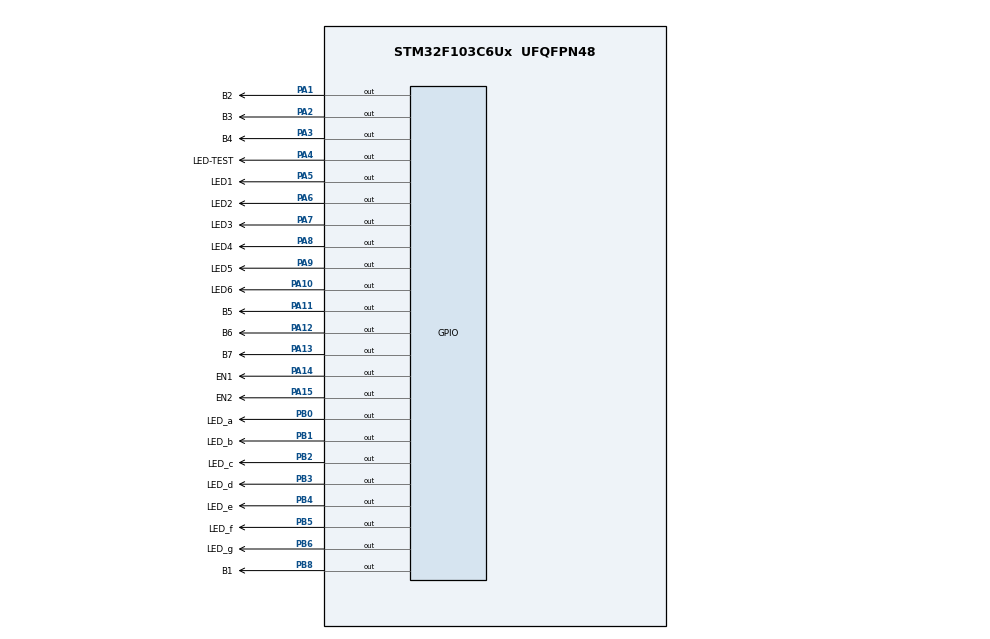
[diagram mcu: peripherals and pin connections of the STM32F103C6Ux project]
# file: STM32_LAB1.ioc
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Mcu.Family=STM32F1
Mcu.Name=STM32F103C6Ux
Mcu.Package=UFQFPN48
NVIC.PriorityGroup=NVIC_PRIORITYGROUP_4
PA1.GPIO_Label=B2
PA1.Signal=GPIO_Output
PA10.GPIO_Label=LED6
PA10.Signal=GPIO_Output
PA11.GPIO_Label=B5
PA11.Signal=GPIO_Output
PA12.GPIO_Label=B6
PA12.Signal=GPIO_Output
PA13.GPIO_Label=B7
PA13.Signal=GPIO_Output
PA14.GPIO_Label=EN1
PA14.Signal=GPIO_Output
PA15.GPIO_Label=EN2
PA15.Signal=GPIO_Output
PA2.GPIO_Label=B3
PA2.Signal=GPIO_Output
PA3.GPIO_Label=B4
PA3.Signal=GPIO_Output
PA4.GPIO_Label=LED-TEST
PA4.Signal=GPIO_Output
PA5.GPIO_Label=LED1
PA5.Signal=GPIO_Output
PA6.GPIO_Label=LED2
PA6.Signal=GPIO_Output
PA7.GPIO_Label=LED3
PA7.Signal=GPIO_Output
PA8.GPIO_Label=LED4
PA8.Signal=GPIO_Output
PA9.GPIO_Label=LED5
PA9.Signal=GPIO_Output
PB0.GPIO_Label=LED_a
PB0.Signal=GPIO_Output
PB1.GPIO_Label=LED_b
PB1.Signal=GPIO_Output
PB2.GPIO_Label=LED_c
PB2.Signal=GPIO_Output
PB3.GPIO_Label=LED_d
PB3.Signal=GPIO_Output
PB4.GPIO_Label=LED_e
PB4.Signal=GPIO_Output
PB5.GPIO_Label=LED_f
PB5.Signal=GPIO_Output
PB6.GPIO_Label=LED_g
PB6.Signal=GPIO_Output
PB8.GPIO_Label=B1
PB8.Signal=GPIO_Output
ProjectManager.HeapSize=0x200
ProjectManager.StackSize=0x400
ProjectManager.TargetToolchain=STM32CubeIDE
RCC.APB1Freq_Value=8000000
RCC.APB2Freq_Value=8000000
VP_SYS_VS_ND.Mode=No_Debug
board=custom

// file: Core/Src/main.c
/* USER CODE BEGIN Header */
/**
  ******************************************************************************
  * @file           : main.c
  * @brief          : Main program body
  ******************************************************************************
  * @attention
  *
  * <h2><center>&copy; Copyright (c) 2025 STMicroelectronics.
  * All rights reserved.</center></h2>
  *
  * This software component is licensed by ST under BSD 3-Clause license,
  * the "License"; You may not use this file except in compliance with the
  * License. You may obtain a copy of the License at:
  *                        opensource.org/licenses/BSD-3-Clause
  *
  ******************************************************************************
  */
/* USER CODE END Header */
#include "main.h"

/* USER CODE BEGIN PD */
#define RED   10
#define YEL   11
#define GREEN 12

#define RED_TIME   5
#define YEL_TIME   2
#define GREEN_TIME 3

/* USER CODE END PD */

void SystemClock_Config(void);
static void MX_GPIO_Init(void);

int main(void)
{
  /* USER CODE BEGIN 1 */

	void display7SEG (int num) {
		switch (num) {
		case 0:
			HAL_GPIO_WritePin(LED_a_GPIO_Port, LED_a_Pin, GPIO_PIN_RESET);
			HAL_GPIO_WritePin(LED_b_GPIO_Port, LED_b_Pin, GPIO_PIN_RESET);
			HAL_GPIO_WritePin(LED_c_GPIO_Port, LED_c_Pin, GPIO_PIN_RESET);
			HAL_GPIO_WritePin(LED_d_GPIO_Port, LED_d_Pin, GPIO_PIN_RESET);
			HAL_GPIO_WritePin(LED_e_GPIO_Port, LED_e_Pin, GPIO_PIN_RESET);
			HAL_GPIO_WritePin(LED_f_GPIO_Port, LED_f_Pin, GPIO_PIN_RESET);
			HAL_GPIO_WritePin(LED_g_GPIO_Port, LED_g_Pin, GPIO_PIN_SET);
			break;
		case 1:
			HAL_GPIO_WritePin(LED_a_GPIO_Port, LED_a_Pin, GPIO_PIN_SET);
			HAL_GPIO_WritePin(LED_b_GPIO_Port, LED_b_Pin, GPIO_PIN_RESET);
			HAL_GPIO_WritePin(LED_c_GPIO_Port, LED_c_Pin, GPIO_PIN_RESET);
			HAL_GPIO_WritePin(LED_d_GPIO_Port, LED_d_Pin, GPIO_PIN_SET);
			HAL_GPIO_WritePin(LED_e_GPIO_Port, LED_e_Pin, GPIO_PIN_SET);
			HAL_GPIO_WritePin(LED_f_GPIO_Port, LED_f_Pin, GPIO_PIN_SET);
			HAL_GPIO_WritePin(LED_g_GPIO_Port, LED_g_Pin, GPIO_PIN_SET);
			break;
		case 2:
			HAL_GPIO_WritePin(LED_a_GPIO_Port, LED_a_Pin, GPIO_PIN_RESET);
			HAL_GPIO_WritePin(LED_b_GPIO_Port, LED_b_Pin, GPIO_PIN_RESET);
			HAL_GPIO_WritePin(LED_c_GPIO_Port, LED_c_Pin, GPIO_PIN_SET);
			HAL_GPIO_WritePin(LED_d_GPIO_Port, LED_d_Pin, GPIO_PIN_RESET);
			HAL_GPIO_WritePin(LED_e_GPIO_Port, LED_e_Pin, GPIO_PIN_RESET);
			HAL_GPIO_WritePin(LED_f_GPIO_Port, LED_f_Pin, GPIO_PIN_SET);
			HAL_GPIO_WritePin(LED_g_GPIO_Port, LED_g_Pin, GPIO_PIN_RESET);
			break;
		case 3:
			HAL_GPIO_WritePin(LED_a_GPIO_Port, LED_a_Pin, GPIO_PIN_RESET);
			HAL_GPIO_WritePin(LED_b_GPIO_Port, LED_b_Pin, GPIO_PIN_RESET);
			HAL_GPIO_WritePin(LED_c_GPIO_Port, LED_c_Pin, GPIO_PIN_RESET);
			HAL_GPIO_WritePin(LED_d_GPIO_Port, LED_d_Pin, GPIO_PIN_RESET);
			HAL_GPIO_WritePin(LED_e_GPIO_Port, LED_e_Pin, GPIO_PIN_SET);
			HAL_GPIO_WritePin(LED_f_GPIO_Port, LED_f_Pin, GPIO_PIN_SET);
			HAL_GPIO_WritePin(LED_g_GPIO_Port, LED_g_Pin, GPIO_PIN_RESET);
			break;
		case 4:
			HAL_GPIO_WritePin(LED_a_GPIO_Port, LED_a_Pin, GPIO_PIN_SET);
			HAL_GPIO_WritePin(LED_b_GPIO_Port, LED_b_Pin, GPIO_PIN_RESET);
			HAL_GPIO_WritePin(LED_c_GPIO_Port, LED_c_Pin, GPIO_PIN_RESET);
			HAL_GPIO_WritePin(LED_d_GPIO_Port, LED_d_Pin, GPIO_PIN_SET);
			HAL_GPIO_WritePin(LED_e_GPIO_Port, LED_e_Pin, GPIO_PIN_SET);
			HAL_GPIO_WritePin(LED_f_GPIO_Port, LED_f_Pin, GPIO_PIN_RESET);
			HAL_GPIO_WritePin(LED_g_GPIO_Port, LED_g_Pin, GPIO_PIN_RESET);
			break;
		case 5:
			HAL_GPIO_WritePin(LED_a_GPIO_Port, LED_a_Pin, GPIO_PIN_RESET);
			HAL_GPIO_WritePin(LED_b_GPIO_Port, LED_b_Pin, GPIO_PIN_SET);
			HAL_GPIO_WritePin(LED_c_GPIO_Port, LED_c_Pin, GPIO_PIN_RESET);
			HAL_GPIO_WritePin(LED_d_GPIO_Port, LED_d_Pin, GPIO_PIN_RESET);
			HAL_GPIO_WritePin(LED_e_GPIO_Port, LED_e_Pin, GPIO_PIN_SET);
			HAL_GPIO_WritePin(LED_f_GPIO_Port, LED_f_Pin, GPIO_PIN_RESET);
			HAL_GPIO_WritePin(LED_g_GPIO_Port, LED_g_Pin, GPIO_PIN_RESET);
			break;
		case 6:
			HAL_GPIO_WritePin(LED_a_GPIO_Port, LED_a_Pin, GPIO_PIN_RESET);
			HAL_GPIO_WritePin(LED_b_GPIO_Port, LED_b_Pin, GPIO_PIN_SET);
			HAL_GPIO_WritePin(LED_c_GPIO_Port, LED_c_Pin, GPIO_PIN_RESET);
			HAL_GPIO_WritePin(LED_d_GPIO_Port, LED_d_Pin, GPIO_PIN_RESET);
			HAL_GPIO_WritePin(LED_e_GPIO_Port, LED_e_Pin, GPIO_PIN_RESET);
			HAL_GPIO_WritePin(LED_f_GPIO_Port, LED_f_Pin, GPIO_PIN_RESET);
			HAL_GPIO_WritePin(LED_g_GPIO_Port, LED_g_Pin, GPIO_PIN_RESET);
			break;
		case 7:
			HAL_GPIO_WritePin(LED_a_GPIO_Port, LED_a_Pin, GPIO_PIN_RESET);
			HAL_GPIO_WritePin(LED_b_GPIO_Port, LED_b_Pin, GPIO_PIN_RESET);
			HAL_GPIO_WritePin(LED_c_GPIO_Port, LED_c_Pin, GPIO_PIN_RESET);
			HAL_GPIO_WritePin(LED_d_GPIO_Port, LED_d_Pin, GPIO_PIN_SET);
			HAL_GPIO_WritePin(LED_e_GPIO_Port, LED_e_Pin, GPIO_PIN_SET);
			HAL_GPIO_WritePin(LED_f_GPIO_Port, LED_f_Pin, GPIO_PIN_SET);
			HAL_GPIO_WritePin(LED_g_GPIO_Port, LED_g_Pin, GPIO_PIN_SET);
			break;
		case 8:
			HAL_GPIO_WritePin(LED_a_GPIO_Port, LED_a_Pin, GPIO_PIN_RESET);
			HAL_GPIO_WritePin(LED_b_GPIO_Port, LED_b_Pin, GPIO_PIN_RESET);
			HAL_GPIO_WritePin(LED_c_GPIO_Port, LED_c_Pin, GPIO_PIN_RESET);
			HAL_GPIO_WritePin(LED_d_GPIO_Port, LED_d_Pin, GPIO_PIN_RESET);
			HAL_GPIO_WritePin(LED_e_GPIO_Port, LED_e_Pin, GPIO_PIN_RESET);
			HAL_GPIO_WritePin(LED_f_GPIO_Port, LED_f_Pin, GPIO_PIN_RESET);
			HAL_GPIO_WritePin(LED_g_GPIO_Port, LED_g_Pin, GPIO_PIN_RESET);
			break;
		case 9:
			HAL_GPIO_WritePin(LED_a_GPIO_Port, LED_a_Pin, GPIO_PIN_RESET);
			HAL_GPIO_WritePin(LED_b_GPIO_Port, LED_b_Pin, GPIO_PIN_RESET);
			HAL_GPIO_WritePin(LED_c_GPIO_Port, LED_c_Pin, GPIO_PIN_RESET);
			HAL_GPIO_WritePin(LED_d_GPIO_Port, LED_d_Pin, GPIO_PIN_RESET);
			HAL_GPIO_WritePin(LED_e_GPIO_Port, LED_e_Pin, GPIO_PIN_SET);
			HAL_GPIO_WritePin(LED_f_GPIO_Port, LED_f_Pin, GPIO_PIN_RESET);
			HAL_GPIO_WritePin(LED_g_GPIO_Port, LED_g_Pin, GPIO_PIN_RESET);
			break;
		default:
			break;
		}
	}
	void display7SEG_sub (int num) {
	    switch (num) {
	    case 0:
	        HAL_GPIO_WritePin(B1_GPIO_Port, B1_Pin, GPIO_PIN_RESET);
	        HAL_GPIO_WritePin(B2_GPIO_Port, B2_Pin, GPIO_PIN_RESET);
	        HAL_GPIO_WritePin(B3_GPIO_Port, B3_Pin, GPIO_PIN_RESET);
	        HAL_GPIO_WritePin(B4_GPIO_Port, B4_Pin, GPIO_PIN_RESET);
	        HAL_GPIO_WritePin(B5_GPIO_Port, B5_Pin, GPIO_PIN_RESET);
	        HAL_GPIO_WritePin(B6_GPIO_Port, B6_Pin, GPIO_PIN_RESET);
	        HAL_GPIO_WritePin(B7_GPIO_Port, B7_Pin, GPIO_PIN_SET);
	        break;

	    case 1:
	        HAL_GPIO_WritePin(B1_GPIO_Port, B1_Pin, GPIO_PIN_SET);
	        HAL_GPIO_WritePin(B2_GPIO_Port, B2_Pin, GPIO_PIN_RESET);
	        HAL_GPIO_WritePin(B3_GPIO_Port, B3_Pin, GPIO_PIN_RESET);
	        HAL_GPIO_WritePin(B4_GPIO_Port, B4_Pin, GPIO_PIN_SET);
	        HAL_GPIO_WritePin(B5_GPIO_Port, B5_Pin, GPIO_PIN_SET);
	        HAL_GPIO_WritePin(B6_GPIO_Port, B6_Pin, GPIO_PIN_SET);
	        HAL_GPIO_WritePin(B7_GPIO_Port, B7_Pin, GPIO_PIN_SET);
	        break;

	    case 2:
	        HAL_GPIO_WritePin(B1_GPIO_Port, B1_Pin, GPIO_PIN_RESET);
	        HAL_GPIO_WritePin(B2_GPIO_Port, B2_Pin, GPIO_PIN_RESET);
	        HAL_GPIO_WritePin(B3_GPIO_Port, B3_Pin, GPIO_PIN_SET);
	        HAL_GPIO_WritePin(B4_GPIO_Port, B4_Pin, GPIO_PIN_RESET);
	        HAL_GPIO_WritePin(B5_GPIO_Port, B5_Pin, GPIO_PIN_RESET);
	        HAL_GPIO_WritePin(B6_GPIO_Port, B6_Pin, GPIO_PIN_SET);
	        HAL_GPIO_WritePin(B7_GPIO_Port, B7_Pin, GPIO_PIN_RESET);
	        break;

	    case 3:
	        HAL_GPIO_WritePin(B1_GPIO_Port, B1_Pin, GPIO_PIN_RESET);
	        HAL_GPIO_WritePin(B2_GPIO_Port, B2_Pin, GPIO_PIN_RESET);
	        HAL_GPIO_WritePin(B3_GPIO_Port, B3_Pin, GPIO_PIN_RESET);
	        HAL_GPIO_WritePin(B4_GPIO_Port, B4_Pin, GPIO_PIN_RESET);
	        HAL_GPIO_WritePin(B5_GPIO_Port, B5_Pin, GPIO_PIN_SET);
	        HAL_GPIO_WritePin(B6_GPIO_Port, B6_Pin, GPIO_PIN_SET);
	        HAL_GPIO_WritePin(B7_GPIO_Port, B7_Pin, GPIO_PIN_RESET);
	        break;

	    case 4:
	        HAL_GPIO_WritePin(B1_GPIO_Port, B1_Pin, GPIO_PIN_SET);
	        HAL_GPIO_WritePin(B2_GPIO_Port, B2_Pin, GPIO_PIN_RESET);
	        HAL_GPIO_WritePin(B3_GPIO_Port, B3_Pin, GPIO_PIN_RESET);
	        HAL_GPIO_WritePin(B4_GPIO_Port, B4_Pin, GPIO_PIN_SET);
	        HAL_GPIO_WritePin(B5_GPIO_Port, B5_Pin, GPIO_PIN_SET);
	        HAL_GPIO_WritePin(B6_GPIO_Port, B6_Pin, GPIO_PIN_RESET);
	        HAL_GPIO_WritePin(B7_GPIO_Port, B7_Pin, GPIO_PIN_RESET);
	        break;

	    case 5:
	        HAL_GPIO_WritePin(B1_GPIO_Port, B1_Pin, GPIO_PIN_RESET);
	        HAL_GPIO_WritePin(B2_GPIO_Port, B2_Pin, GPIO_PIN_SET);
	        HAL_GPIO_WritePin(B3_GPIO_Port, B3_Pin, GPIO_PIN_RESET);
	        HAL_GPIO_WritePin(B4_GPIO_Port, B4_Pin, GPIO_PIN_RESET);
	        HAL_GPIO_WritePin(B5_GPIO_Port, B5_Pin, GPIO_PIN_SET);
	        HAL_GPIO_WritePin(B6_GPIO_Port, B6_Pin, GPIO_PIN_RESET);
	        HAL_GPIO_WritePin(B7_GPIO_Port, B7_Pin, GPIO_PIN_RESET);
	        break;

	    case 6:
	        HAL_GPIO_WritePin(B1_GPIO_Port, B1_Pin, GPIO_PIN_RESET);
	        HAL_GPIO_WritePin(B2_GPIO_Port, B2_Pin, GPIO_PIN_SET);
	        HAL_GPIO_WritePin(B3_GPIO_Port, B3_Pin, GPIO_PIN_RESET);
	        HAL_GPIO_WritePin(B4_GPIO_Port, B4_Pin, GPIO_PIN_RESET);
	        HAL_GPIO_WritePin(B5_GPIO_Port, B5_Pin, GPIO_PIN_RESET);
	        HAL_GPIO_WritePin(B6_GPIO_Port, B6_Pin, GPIO_PIN_RESET);
	        HAL_GPIO_WritePin(B7_GPIO_Port, B7_Pin, GPIO_PIN_RESET);
	        break;

	    case 7:
	        HAL_GPIO_WritePin(B1_GPIO_Port, B1_Pin, GPIO_PIN_RESET);
	        HAL_GPIO_WritePin(B2_GPIO_Port, B2_Pin, GPIO_PIN_RESET);
	        HAL_GPIO_WritePin(B3_GPIO_Port, B3_Pin, GPIO_PIN_RESET);
	        HAL_GPIO_WritePin(B4_GPIO_Port, B4_Pin, GPIO_PIN_SET);
	        HAL_GPIO_WritePin(B5_GPIO_Port, B5_Pin, GPIO_PIN_SET);
	        HAL_GPIO_WritePin(B6_GPIO_Port, B6_Pin, GPIO_PIN_SET);
	        HAL_GPIO_WritePin(B7_GPIO_Port, B7_Pin, GPIO_PIN_SET);
	        break;

	    case 8:
	        HAL_GPIO_WritePin(B1_GPIO_Port, B1_Pin, GPIO_PIN_RESET);
	        HAL_GPIO_WritePin(B2_GPIO_Port, B2_Pin, GPIO_PIN_RESET);
	        HAL_GPIO_WritePin(B3_GPIO_Port, B3_Pin, GPIO_PIN_RESET);
	        HAL_GPIO_WritePin(B4_GPIO_Port, B4_Pin, GPIO_PIN_RESET);
	        HAL_GPIO_WritePin(B5_GPIO_Port, B5_Pin, GPIO_PIN_RESET);
	        HAL_GPIO_WritePin(B6_GPIO_Port, B6_Pin, GPIO_PIN_RESET);
	        HAL_GPIO_WritePin(B7_GPIO_Port, B7_Pin, GPIO_PIN_RESET);
	        break;

	    case 9:
	        HAL_GPIO_WritePin(B1_GPIO_Port, B1_Pin, GPIO_PIN_RESET);
	        HAL_GPIO_WritePin(B2_GPIO_Port, B2_Pin, GPIO_PIN_RESET);
	        HAL_GPIO_WritePin(B3_GPIO_Port, B3_Pin, GPIO_PIN_RESET);
	        HAL_GPIO_WritePin(B4_GPIO_Port, B4_Pin, GPIO_PIN_RESET);
	        HAL_GPIO_WritePin(B5_GPIO_Port, B5_Pin, GPIO_PIN_SET);
	        HAL_GPIO_WritePin(B6_GPIO_Port, B6_Pin, GPIO_PIN_RESET);
	        HAL_GPIO_WritePin(B7_GPIO_Port, B7_Pin, GPIO_PIN_RESET);
	        break;

	    default:
	        break;
	    }
	}

//	void showTime(int led_idx, int time) {
//		display7SEG(time);
//		switch(led_idx){
//		case 0:
//			HAL_GPIO_WritePin(EN1_GPIO_Port,EN1_Pin,RESET);
//			HAL_GPIO_WritePin(EN2_GPIO_Port,EN2_Pin,SET);
//		case 1:
//			HAL_GPIO_WritePin(EN1_GPIO_Port,EN1_Pin,SET);
//			HAL_GPIO_WritePin(EN2_GPIO_Port,EN2_Pin,RESET);
//		}
//	}

  /* USER CODE END 1 */

  /* MCU Configuration--------------------------------------------------------*/

  /* Reset of all peripherals, Initializes the Flash interface and the Systick. */
  HAL_Init();

  /* Configure the system clock */
  SystemClock_Config();

  /* Initialize all configured peripherals */
  MX_GPIO_Init();

  /* Infinite loop */
  /* USER CODE BEGIN WHILE */
  int state_main = RED;
  int state_sub  = GREEN;
  int cnt_main = RED_TIME;
  int cnt_sub  = GREEN_TIME;
  while (1)
  {
	  // ======== Logic đèn giao thông mỗi 1s ========
		// MAIN
		switch(state_main){
		case RED:
			HAL_GPIO_WritePin(LED1_GPIO_Port,LED1_Pin, RESET);
			HAL_GPIO_WritePin(LED2_GPIO_Port,LED2_Pin, SET);
			HAL_GPIO_WritePin(LED3_GPIO_Port,LED3_Pin, SET);
			if(cnt_main < 0){ cnt_main = GREEN_TIME; state_main = GREEN; }
			break;

		case YEL:
			HAL_GPIO_WritePin(LED1_GPIO_Port,LED1_Pin, SET);
			HAL_GPIO_WritePin(LED2_GPIO_Port,LED2_Pin, RESET);
			HAL_GPIO_WritePin(LED3_GPIO_Port,LED3_Pin, SET);
			if(cnt_main < 0){ cnt_main = RED_TIME; state_main = RED; }
			break;

		case GREEN:
			HAL_GPIO_WritePin(LED1_GPIO_Port,LED1_Pin, SET);
			HAL_GPIO_WritePin(LED2_GPIO_Port,LED2_Pin, SET);
			HAL_GPIO_WritePin(LED3_GPIO_Port,LED3_Pin, RESET);
			if(cnt_main < 0){ cnt_main = YEL_TIME; state_main = YEL; }
			break;
		}

		// SUB
		switch(state_sub){
		case RED:
			HAL_GPIO_WritePin(LED4_GPIO_Port,LED4_Pin, RESET);
			HAL_GPIO_WritePin(LED5_GPIO_Port,LED5_Pin, SET);
			HAL_GPIO_WritePin(LED6_GPIO_Port,LED6_Pin, SET);
			if(cnt_sub < 1){ cnt_sub = GREEN_TIME; state_sub = GREEN; }
			break;

		case YEL:
			HAL_GPIO_WritePin(LED4_GPIO_Port,LED4_Pin, SET);
			HAL_GPIO_WritePin(LED5_GPIO_Port,LED5_Pin, RESET);
			HAL_GPIO_WritePin(LED6_GPIO_Port,LED6_Pin, SET);
			if(cnt_sub < 1){ cnt_sub = RED_TIME; state_sub = RED; }
			break;

		case GREEN:
			HAL_GPIO_WritePin(LED4_GPIO_Port,LED4_Pin, SET);
			HAL_GPIO_WritePin(LED5_GPIO_Port,LED5_Pin, SET);
			HAL_GPIO_WritePin(LED6_GPIO_Port,LED6_Pin, RESET);
			if(cnt_sub < 1){ cnt_sub = YEL_TIME; state_sub = YEL; }
			break;
		}

		display7SEG(cnt_main);
		HAL_GPIO_WritePin(EN1_GPIO_Port, EN1_Pin, RESET);

		display7SEG_sub(cnt_sub);
		HAL_GPIO_WritePin(EN2_GPIO_Port, EN2_Pin, RESET);

		HAL_GPIO_TogglePin(LED_TEST_GPIO_Port,LED_TEST_Pin);
		HAL_Delay(1000);
		cnt_main--;
		cnt_sub--;

    /* USER CODE END WHILE */

  }
}

void SystemClock_Config(void)
{
  RCC_OscInitTypeDef RCC_OscInitStruct = {0};
  RCC_ClkInitTypeDef RCC_ClkInitStruct = {0};

  /** Initializes the RCC Oscillators according to the specified parameters
  * in the RCC_OscInitTypeDef structure.
  */
  RCC_OscInitStruct.OscillatorType = RCC_OSCILLATORTYPE_HSI;
  RCC_OscInitStruct.HSIState = RCC_HSI_ON;
  RCC_OscInitStruct.HSICalibrationValue = RCC_HSICALIBRATION_DEFAULT;
  RCC_OscInitStruct.PLL.PLLState = RCC_PLL_NONE;
  if (HAL_RCC_OscConfig(&RCC_OscInitStruct) != HAL_OK)
  {
    Error_Handler();
  }
  /** Initializes the CPU, AHB and APB buses clocks
  */
  RCC_ClkInitStruct.ClockType = RCC_CLOCKTYPE_HCLK|RCC_CLOCKTYPE_SYSCLK
                              |RCC_CLOCKTYPE_PCLK1|RCC_CLOCKTYPE_PCLK2;
  RCC_ClkInitStruct.SYSCLKSource = RCC_SYSCLKSOURCE_HSI;
  RCC_ClkInitStruct.AHBCLKDivider = RCC_SYSCLK_DIV1;
  RCC_ClkInitStruct.APB1CLKDivider = RCC_HCLK_DIV1;
  RCC_ClkInitStruct.APB2CLKDivider = RCC_HCLK_DIV1;

  if (HAL_RCC_ClockConfig(&RCC_ClkInitStruct, FLASH_LATENCY_0) != HAL_OK)
  {
    Error_Handler();
  }
}

static void MX_GPIO_Init(void)
{
  GPIO_InitTypeDef GPIO_InitStruct = {0};

  /* GPIO Ports Clock Enable */
  __HAL_RCC_GPIOA_CLK_ENABLE();
  __HAL_RCC_GPIOB_CLK_ENABLE();

  /*Configure GPIO pin Output Level */
  HAL_GPIO_WritePin(GPIOA, B2_Pin|B3_Pin|B4_Pin|LED_TEST_Pin
                          |LED1_Pin|LED2_Pin|LED3_Pin|LED4_Pin
                          |LED5_Pin|LED6_Pin|B5_Pin|B6_Pin
                          |B7_Pin|EN1_Pin|EN2_Pin, GPIO_PIN_RESET);

  /*Configure GPIO pin Output Level */
  HAL_GPIO_WritePin(GPIOB, LED_a_Pin|LED_b_Pin|LED_c_Pin|LED_d_Pin
                          |LED_e_Pin|LED_f_Pin|LED_g_Pin|B1_Pin, GPIO_PIN_RESET);

  /*Configure GPIO pins : B2_Pin B3_Pin B4_Pin LED_TEST_Pin
                           LED1_Pin LED2_Pin LED3_Pin LED4_Pin
                           LED5_Pin LED6_Pin B5_Pin B6_Pin
                           B7_Pin EN1_Pin EN2_Pin */
  GPIO_InitStruct.Pin = B2_Pin|B3_Pin|B4_Pin|LED_TEST_Pin
                          |LED1_Pin|LED2_Pin|LED3_Pin|LED4_Pin
                          |LED5_Pin|LED6_Pin|B5_Pin|B6_Pin
                          |B7_Pin|EN1_Pin|EN2_Pin;
  GPIO_InitStruct.Mode = GPIO_MODE_OUTPUT_PP;
  GPIO_InitStruct.Pull = GPIO_NOPULL;
  GPIO_InitStruct.Speed = GPIO_SPEED_FREQ_LOW;
  HAL_GPIO_Init(GPIOA, &GPIO_InitStruct);

  /*Configure GPIO pins : LED_a_Pin LED_b_Pin LED_c_Pin LED_d_Pin
                           LED_e_Pin LED_f_Pin LED_g_Pin B1_Pin */
  GPIO_InitStruct.Pin = LED_a_Pin|LED_b_Pin|LED_c_Pin|LED_d_Pin
                          |LED_e_Pin|LED_f_Pin|LED_g_Pin|B1_Pin;
  GPIO_InitStruct.Mode = GPIO_MODE_OUTPUT_PP;
  GPIO_InitStruct.Pull = GPIO_NOPULL;
  GPIO_InitStruct.Speed = GPIO_SPEED_FREQ_LOW;
  HAL_GPIO_Init(GPIOB, &GPIO_InitStruct);

}

void Error_Handler(void)
{
  __disable_irq();
  while (1)
  {
  }
}

/************************ (C) COPYRIGHT STMicroelectronics *****END OF FILE****/
